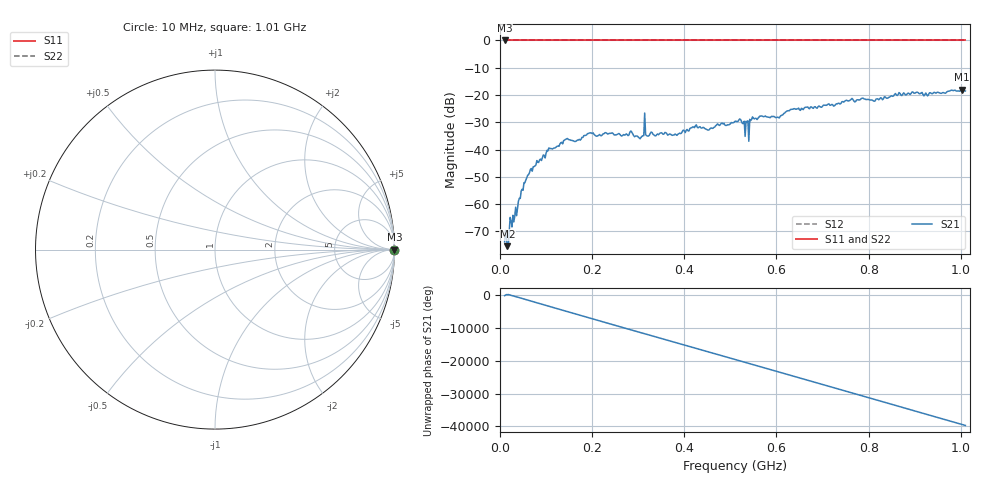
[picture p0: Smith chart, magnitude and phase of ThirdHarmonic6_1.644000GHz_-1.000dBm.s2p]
! 8/16/2025 7:40:31 PM
! C:\ANRITSUVNA\TEMP\TEMP.S2P
! CHANNEL.1
! TR.MEASUREMENT
! RAW.DATA
! RF.CORRECTION.OFF
! AVERAGING.OFF
! IF.BANDWIDTH: 5KHZ
! SWEEPTYPE:  FREQ.SWEEP(Linear)
! Reference Plane Port Info
! PORT:  PORT1  PORT2
! DISTANCE:  0  m  0  m
! TIME:  0  s  0  s
! PHASE.OFFSET:  0  deg.  0  deg.
! LOSS:  0  dB  0  dB
! REF.LOSS:  0  dB  0  dB
! REF.FREQ:  0  Hz  0  Hz
! Power Info
! POWER:  -20  dBm  -20  dBm
! EFF.POWER:  -20  dBm  -20  dBm
! SOURCE.ATTEN:  0  dB  0  dB
! TEST.ATTEN:  0  dB  0  dB
# GHZ S RI R 50.0
! FREQ.GHZ  S11RE  S11IM  S21RE  S21IM  S12RE  S12IM  S22RE  S22IM
!; PortSelection: Port_12
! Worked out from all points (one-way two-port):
!   501 points, 10 MHz to 1.01 GHz, reference 50 ohm
!   highest |S21| = -18.05 dB at 1.002 GHz (marker M1); lowest = -75.4 dB at 16 MHz (marker M2)
!   lowest |S11| = 0.0 dB at 10 MHz (marker M3)
!   |S11| at or under -10 dB: nowhere
!   |S22| runs from 0.0 to 0.0 dB; largest |S21 - S12| = 1.1
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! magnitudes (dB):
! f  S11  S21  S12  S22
! 10 MHz  0.0  -73.8  0.0  0.0
! 16 MHz  0.0  -75.4  0.0  0.0
! 24 MHz  0.0  -66.3  0.0  0.0
! 34 MHz  0.0  -61.1  0.0  0.0
! 50 MHz  0.0  -54.9  0.0  0.0
! 64 MHz  0.0  -48.5  0.0  0.0
! 106 MHz  0.0  -39.4  0.0  0.0
! 142 MHz  0.0  -36.3  0.0  0.0
! 178 MHz  0.0  -35.5  0.0  0.0
! 198 MHz  0.0  -33.9  0.0  0.0
! 284 MHz  0.0  -33.2  0.0  0.0
! 304 MHz  0.0  -36.1  0.0  0.0
! 312 MHz  0.0  -34.9  0.0  0.0
! 344 MHz  0.0  -34.6  0.0  0.0
! 510 MHz  0.0  -29.6  0.0  0.0
! 522 MHz  0.0  -29.0  0.0  0.0
! 536 MHz  0.0  -30.0  0.0  0.0
! 546 MHz  0.0  -29.0  0.0  0.0
! 678 MHz  0.0  -24.7  0.0  0.0
! 844 MHz  0.0  -20.8  0.0  0.0
! 1.002 GHz  0.0  -18.1  0.0  0.0
! 1.01 GHz  0.0  -18.5  0.0  0.0
